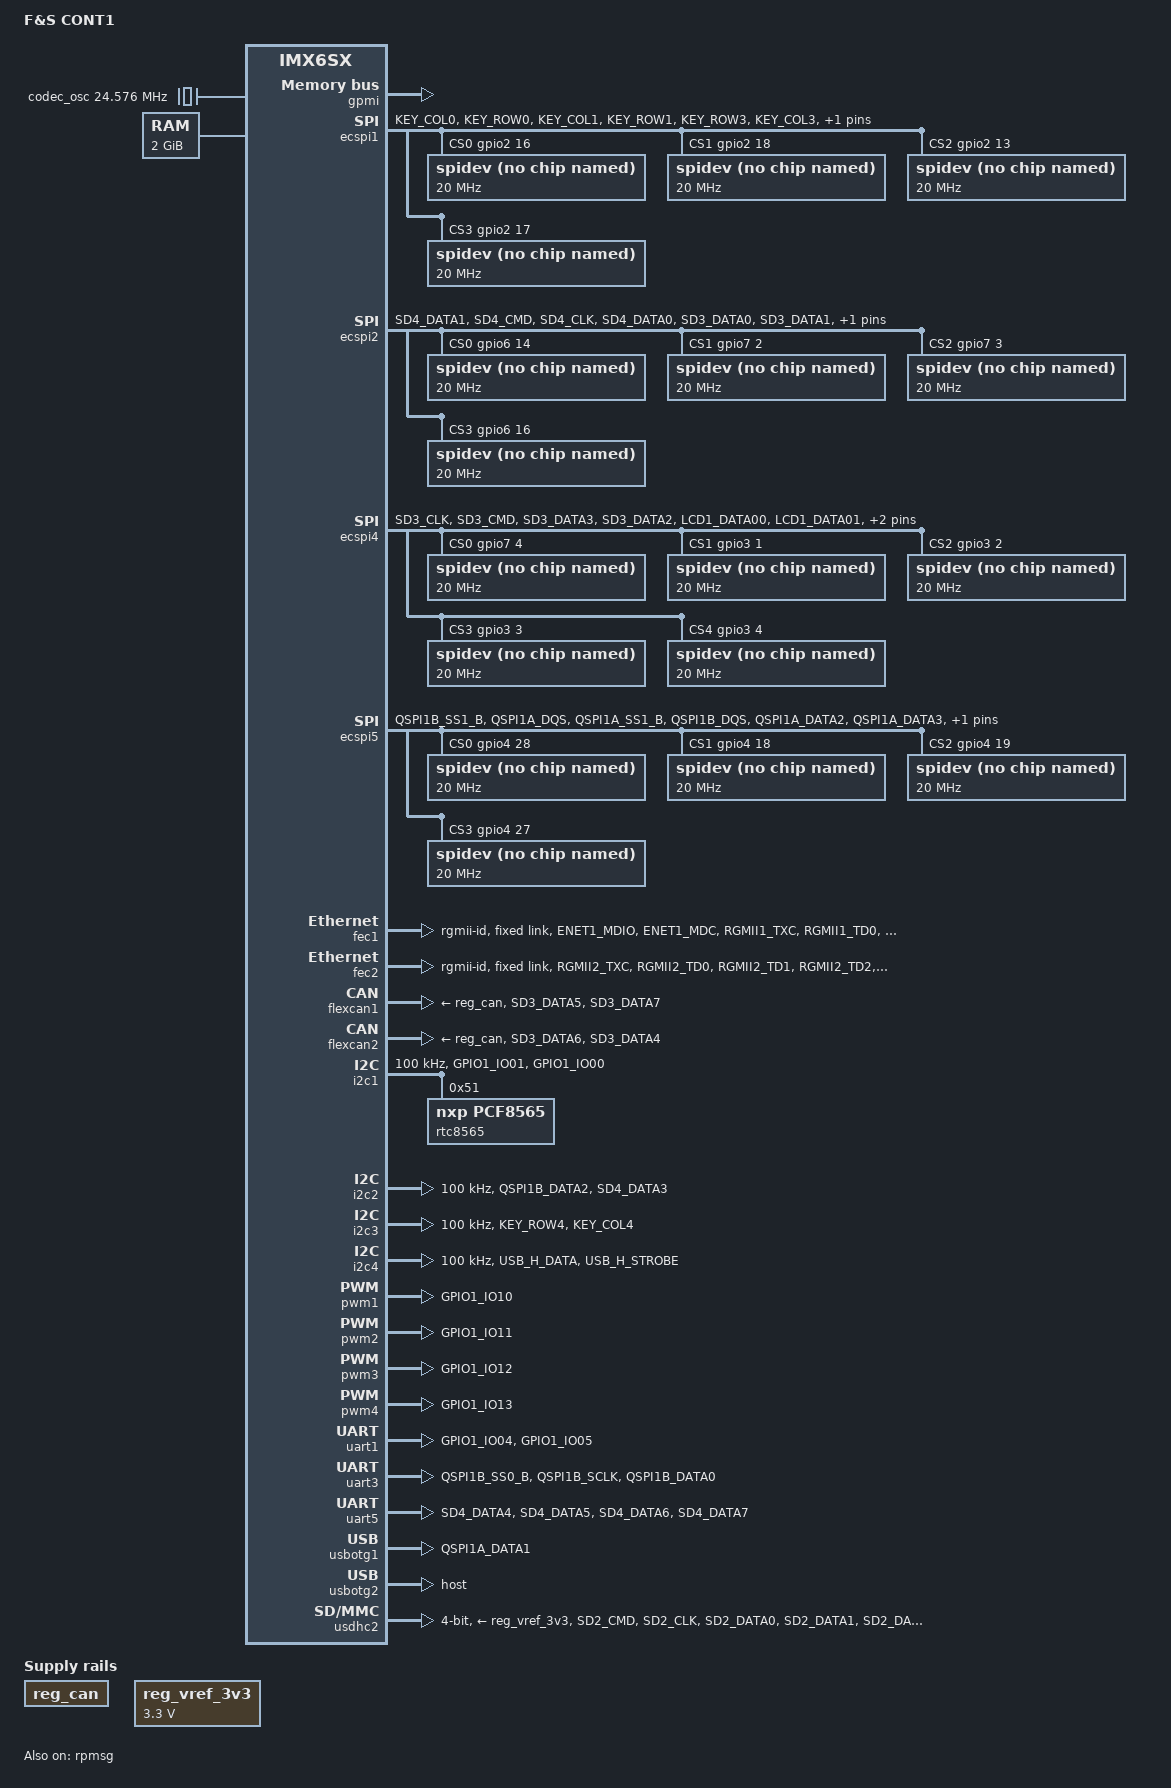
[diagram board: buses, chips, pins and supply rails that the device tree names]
/*
 * Copyright (C) 2017-2019 F&S Elektronik Systeme GmbH
 *
 * This program is free software; you can redistribute it and/or modify
 * it under the terms of the GNU General Public License version 2 as
 * published by the Free Software Foundation.
 */

/dts-v1/;

/* Set board revision as 3-digit number, e.g. 100 for board rev. 1.00 */
#define CONFIG_CONT1_BOARD_REVISION	120

/* CMA: Set 320 MB for Continuous Memory Allocator */
#define CONFIG_CONT1_CMA_SIZE 0x14000000

/* Network */
#define CONFIG_CONT1_ETH0
#define CONFIG_CONT1_ETH1

/* I2C */
#define CONFIG_CONT1_I2C_A
#define CONFIG_CONT1_I2C_B
#define CONFIG_CONT1_I2C_C
#define CONFIG_CONT1_I2C_D

/* SPI */
#define CONFIG_CONT1_SPI_A
#define CONFIG_CONT1_SPI_B
#define CONFIG_CONT1_SPI_C
#define CONFIG_CONT1_SPI_D

#include "imx6sx.dtsi"

/ {
	model = "F&S CONT1";
	compatible = "fus,imx6sx-CONT1", "fsl,imx6sx";

	clocks {
		codec_osc: anaclk2 {
			#clock-cells = <0>;
			compatible = "fixed-clock";
			clock-frequency = <24576000>;
		};
	};

	memory {
		reg = <0x80000000 0x80000000>;
	};

	pxp_v4l2_out {
		compatible = "fsl,imx6sx-pxp-v4l2", "fsl,imx6sl-pxp-v4l2";
		status = "okay";
	};

	regulators {
		compatible = "simple-bus";

		reg_can: regulator_can {
			compatible = "regulator-fixed";
			regulator-name = "can";
		};

		reg_vref_3v3: regulator@0 {
			compatible = "regulator-fixed";
			regulator-name = "vref-3v3";
			regulator-min-microvolt = <3300000>;
			regulator-max-microvolt = <3300000>;
			regulator-always-on;
		};

		/* USB_OTG1_PWR is always on, no regulator needed */
#if 0 //###
		reg_usb_otg1_vbus: usb_otg1_vbus {
			compatible = "regulator-fixed";
			regulator-name = "usb_otg1_vbus";
			regulator-min-microvolt = <5000000>;
			regulator-max-microvolt = <5000000>;
			regulator-always-on;
		};
#endif

		/* USB_OTG2_PWR is always on, no regulator needed */
#if 0 //###
		reg_usb_otg2_vbus: usb_otg2_vbus {
			compatible = "regulator-fixed";
			regulator-name = "usb_otg2_vbus";
			regulator-min-microvolt = <5000000>;
			regulator-max-microvolt = <5000000>;
			regulator-always-on;
		};
#endif //###
	};

	/* F&S board information */
	bdinfo {
		compatible = "bdinfo";
		board_name = "cont1";
		ecc_strength = "8";
	};

	/* F&S auxiliary core driver */
	auxiliary_core {
		compatible = "auxiliary-core";
		clocks = <&clks IMX6SX_CLK_M4>;
	};
};

/* RAM size for Continues Memory Allocator */
&cma {
	size = <CONFIG_CONT1_CMA_SIZE>;
};

&busfreq {
	/* Disable bus frequency scaling, because reducing bus frequency to
	   24 MHz does not work with all types of DDR3 RAM */
	disable-scaling;
};

&clks {
	/* Shared memory in OCRAM, keep clear from Linux */
	fsl,shared-mem-addr = <0x91F000>;
	fsl,shared-mem-size = <0x1000>;
	fsl,shared-clks-number = <0x23>;
	fsl,shared-clks-index = <IMX6SX_CLK_PLL2_BUS
				 IMX6SX_CLK_PLL2_PFD0
				 IMX6SX_CLK_PLL2_PFD2
				 IMX6SX_CLK_PLL3_USB_OTG
				 IMX6SX_CLK_PLL3_PFD1
				 IMX6SX_CLK_PLL3_PFD2
				 IMX6SX_CLK_PLL3_PFD3
				 IMX6SX_CLK_PLL4_AUDIO
				 IMX6SX_CLK_PLL5_VIDEO
				 IMX6SX_CLK_OCRAM
				 IMX6SX_CLK_CAN1_SERIAL
				 IMX6SX_CLK_CAN1_IPG
				 IMX6SX_CLK_CAN2_SERIAL
				 IMX6SX_CLK_CAN2_IPG
				 IMX6SX_CLK_CANFD
				 IMX6SX_CLK_ECSPI1
				 IMX6SX_CLK_ECSPI2
				 IMX6SX_CLK_ECSPI3
				 IMX6SX_CLK_ECSPI4
				 IMX6SX_CLK_ECSPI5
				 IMX6SX_CLK_QSPI1
				 IMX6SX_CLK_QSPI2
				 IMX6SX_CLK_SSI1
				 IMX6SX_CLK_SSI2
				 IMX6SX_CLK_SSI3
				 IMX6SX_CLK_UART_SERIAL
				 IMX6SX_CLK_UART_IPG
				 IMX6SX_CLK_PERIPH_CLK2_SEL
				 IMX6SX_CLK_DUMMY
				 IMX6SX_CLK_I2C1
				 IMX6SX_CLK_I2C2
				 IMX6SX_CLK_I2C3
				 IMX6SX_CLK_I2C4
				 IMX6SX_CLK_EPIT1
				 IMX6SX_CLK_EPIT2>;
};

/* epit1 and epit2 may be used by Cortex-M4 examples for timing purposes; they are
   not used in Linux anyway */
&epit1{
	status = "disabled";
};

&epit2{
	status = "disabled";
};

/* rpmsg is used for communication between Cortex-A9 and Cortex-M4 cores */
&rpmsg{
	/* The ring buffer addresses are automatically updated in current U-Boot */
	vring-buffer-address0 = <0xBFFF0000>;
	vring-buffer-address1 = <0xBFFF8000>;
	status = "okay";
};

/*
 * OCRAM usage (128KB):
 *   0x00900000 - 0x00900FFF: Cortex-A9/Linux: CPU idle + bus frequency code
 *   0x00901000 - 0x0090FFFF: Cortex-A9/Linux: DMA descriptors, GPU
 *   0x00910000 - 0x0091EFFF: Cortex-M4/FreeRTOS: Code/Data
 *   0x0091F000 - 0x0091FFFF: Cortex-A9+M4: Shared memory for shared clocks
 */
&ocram {
	reg = <0x00901000 0xf000>;
};

&dma_apbh {
	/* Switch to F&S implementation of APBH DMA driver for GPMI (NAND) */
	compatible = "fus,imx6sx-dma-apbh", "fus,imx28-dma-apbh";
	iram = <&ocram>;
};

&gpmi {
	/* Switch to F&S implementation of GPMI NAND driver */
	compatible = "fus,imx6sx-gpmi-nand";
	pinctrl-names = "default";
//###	pinctrl-0 = <&pinctrl_gpmi_nand_1>;
	fus,skipblocks = <2>;
	fus,chunk1k;
	fus,ecc_strength = <8>;		/* Spare area 64 bytes */
	status = "okay";
};

#ifdef CONFIG_CONT1_SPI_A
&ecspi1 {
	pinctrl-names = "default";
	pinctrl-0 = <&pinctrl_ecspi1>;
	fsl,spi-num-chipselects = <4>;
	cs-gpios = <&gpio2 16 0>, <&gpio2 18 0>, <&gpio2 13 0>, <&gpio2 17 0>;
	status = "okay";

	spidev@0 {
		#address-cells = <1>;
		#size-cells = <1>;
		compatible = "linux,spidev";
		spi-max-frequency = <20000000>;
		reg = <0>;
	};

	spidev@1 {
		#address-cells = <1>;
		#size-cells = <1>;
		compatible = "linux,spidev";
		spi-max-frequency = <20000000>;
		reg = <1>;
	};

	spidev@2 {
		#address-cells = <1>;
		#size-cells = <1>;
		compatible = "linux,spidev";
		spi-max-frequency = <20000000>;
		reg = <2>;
	};

	spidev@3 {
		#address-cells = <1>;
		#size-cells = <1>;
		compatible = "linux,spidev";
		spi-max-frequency = <20000000>;
		reg = <3>;
	};
};
#endif

#ifdef CONFIG_CONT1_SPI_B
&ecspi2 {
	pinctrl-names = "default";
	pinctrl-0 = <&pinctrl_ecspi2>;
	fsl,spi-num-chipselects = <4>;
	cs-gpios = <&gpio6 14 0>, <&gpio7 2 0>, <&gpio7 3 0>, <&gpio6 16 0>;
	status = "okay";

	spidev@0 {
		#address-cells = <1>;
		#size-cells = <1>;
		compatible = "linux,spidev";
		spi-max-frequency = <20000000>;
		reg = <0>;
	};

	spidev@1 {
		#address-cells = <1>;
		#size-cells = <1>;
		compatible = "linux,spidev";
		spi-max-frequency = <20000000>;
		reg = <1>;
	};

	spidev@2 {
		#address-cells = <1>;
		#size-cells = <1>;
		compatible = "linux,spidev";
		spi-max-frequency = <20000000>;
		reg = <2>;
	};

	spidev@3 {
		#address-cells = <1>;
		#size-cells = <1>;
		compatible = "linux,spidev";
		spi-max-frequency = <20000000>;
		reg = <3>;
	};
};
#endif

#ifdef CONFIG_CONT1_SPI_C
&ecspi4 {
	/* SPI_A: 5x CS */
	fsl,spi-num-chipselects = <5>;
	cs-gpios = <&gpio7 4 0>, <&gpio3 1 0>, <&gpio3 2 0>,
		   <&gpio3 3 0>, <&gpio3 4 0>;
	pinctrl-names = "default";
	pinctrl-0 = <&pinctrl_ecspi4>;
	status = "okay";

	spidev@0 {
		#address-cells = <1>;
		#size-cells = <1>;
		compatible = "linux,spidev";
		spi-max-frequency = <20000000>;
		reg = <0>;
	};

	spidev@1 {
		#address-cells = <1>;
		#size-cells = <1>;
		compatible = "linux,spidev";
		spi-max-frequency = <20000000>;
		reg = <1>;
	};

	spidev@2 {
		#address-cells = <1>;
		#size-cells = <1>;
		compatible = "linux,spidev";
		spi-max-frequency = <20000000>;
		reg = <2>;
	};

	spidev@3 {
		#address-cells = <1>;
		#size-cells = <1>;
		compatible = "linux,spidev";
		spi-max-frequency = <20000000>;
		reg = <3>;
	};

	spidev@4 {
		#address-cells = <1>;
		#size-cells = <1>;
		compatible = "linux,spidev";
		spi-max-frequency = <20000000>;
		reg = <4>;
	};
};
#endif

#ifdef CONFIG_CONT1_SPI_D
&ecspi5 {
	pinctrl-names = "default";
	pinctrl-0 = <&pinctrl_ecspi5>;
	/* SPI_A: 4x CS */
	fsl,spi-num-chipselects = <4>;
	cs-gpios = <&gpio4 28 0>, <&gpio4 18 0>, <&gpio4 19 0>, <&gpio4 27 0>;
	status = "okay";

	spidev@0 {
		#address-cells = <1>;
		#size-cells = <1>;
		compatible = "linux,spidev";
		spi-max-frequency = <20000000>;
		reg = <0>;
	};

	spidev@1 {
		#address-cells = <1>;
		#size-cells = <1>;
		compatible = "linux,spidev";
		spi-max-frequency = <20000000>;
		reg = <1>;
	};

	spidev@2 {
		#address-cells = <1>;
		#size-cells = <1>;
		compatible = "linux,spidev";
		spi-max-frequency = <20000000>;
		reg = <2>;
	};

	spidev@3 {
		#address-cells = <1>;
		#size-cells = <1>;
		compatible = "linux,spidev";
		spi-max-frequency = <20000000>;
		reg = <3>;
	};
};
#endif

#ifdef CONFIG_CONT1_ETH0
&fec1 {
	pinctrl-names = "default";
	pinctrl-0 = <&pinctrl_enet1_1>;
	phy-mode = "rgmii-id";
	fsl,magic-packet;
	status = "okay";

	/* FEC1 is directly connected to ethernet switch SJA1105 port 3 */
	fixed-link {
		speed = <1000>;
		full-duplex;
	};

#if 0
	/* ### TODO ### */
	/* There are three external PHYs on MDIO bus of FEC1. Ports 0 and 1
	   are available as RJ45 connectors and port 2 is on the B2B connector.
	   However these PHYs have nothing to do with the connection of FEC1
	   and FEC2 to the switch, so they can not simply be added here. They
	   need a separate driver to handle link changes, for example to update
	   the speed of the switch port. As long as the ports can use a fixed
	   speed, the U-Boot configuration is sufficient and no further action
	   is required in Linux. */
	mdio {
		#address-cells = <1>;
		#size-cells = <0>;

		ethphy0: ethernet-phy@4 {
			compatible = "ethernet-phy-ieee802.3-c22";
			reg = <4>;
		};
		ethphy1: ethernet-phy@5 {
			compatible = "ethernet-phy-ieee802.3-c22";
			reg = <5>;
		};
		ethphy2: ethernet-phy@6 {
			compatible = "ethernet-phy-ieee802.3-c22";
			reg = <6>;
		};
	};
#endif
};
#endif /* CONFIG_CONT1_ETH0 */

#ifdef CONFIG_CONT1_ETH1
&fec2 {
	pinctrl-names = "default";
	pinctrl-0 = <&pinctrl_enet2_1>;
	phy-mode = "rgmii-id";
	fsl,magic-packet;
	status = "okay";

	/* FEC2 is directly connected to ethernet switch SJA1105 port 4 */
	fixed-link {
		speed = <1000>;
		full-duplex;
	};
};
#endif /* CONFIG_CONT1_ETH1 */

&flexcan1 {
	pinctrl-names = "default";
	pinctrl-0 = <&pinctrl_flexcan1_1>;
	xceiver-supply = <&reg_can>;
//###	trx-en-gpio = <&max7310_b 5 GPIO_ACTIVE_HIGH>;
//###	trx-stby-gpio = <&max7310_b 4 GPIO_ACTIVE_HIGH>;
//###	trx-wakeup-gpio = <&max7310_b 7 GPIO_ACTIVE_HIGH>;
	status = "okay";
};

&flexcan2 {
	pinctrl-names = "default";
	pinctrl-0 = <&pinctrl_flexcan2_1>;
	xceiver-supply = <&reg_can>;
//###	trx-en-gpio = <&max7310_b 5 GPIO_ACTIVE_HIGH>;
//###	trx-stby-gpio = <&max7310_b 4 GPIO_ACTIVE_HIGH>;
//###	trx-wakeup-gpio = <&max7310_b 7 GPIO_ACTIVE_HIGH>;
	status = "okay";
};

/* This board uses CPU variant MCIMX6X2EVN10 which does not have a GPU */
&gpu {
	status = "disabled";
};

#ifdef CONFIG_CONT1_I2C_C
/* I2C_C RTC, B2B Connector */
&i2c1 {
	clock-frequency = <100000>;
	pinctrl-names = "default";
	pinctrl-0 = <&pinctrl_i2c1_1>;
	status = "okay";

	rtc8565@51 {
		compatible = "nxp,pcf8565", "nxp,pcf8563";
		reg = <0x51>;
	};
};
#endif

#ifdef CONFIG_CONT1_I2C_A
/* I2C_A B2B Connector */
&i2c2 {
	clock-frequency = <100000>;
	pinctrl-names = "default";
	pinctrl-0 = <&pinctrl_i2c2_1>;
	status = "okay";
};
#endif

#ifdef CONFIG_CONT1_I2C_B
/* I2C_B: B2B Connector */
&i2c3 {
	clock-frequency = <100000>;
	pinctrl-names = "default";
	pinctrl-0 = <&pinctrl_i2c3_1>;
	status = "okay";
};
#endif

#ifdef CONFIG_CONT1_I2C_D
/* I2C_D: B2B Connector */
&i2c4 {
	clock-frequency = <100000>;
	pinctrl-names = "default";
	pinctrl-0 = <&pinctrl_i2c4_1>;
	status = "okay";
};
#endif

&pwm1 {
	pinctrl-names = "default";
	pinctrl-0 = <&pinctrl_pwm1>;
	status = "okay";
};

&pwm2 {
	pinctrl-names = "default";
	pinctrl-0 = <&pinctrl_pwm2>;
	status = "okay";
};

&pwm3 {
	pinctrl-names = "default";
	pinctrl-0 = <&pinctrl_pwm3>;
	status = "okay";
};

&pwm4 {
	pinctrl-names = "default";
	pinctrl-0 = <&pinctrl_pwm4>;
	status = "okay";
};

/* UART_A: TXD, RXD only, RS232-level */
&uart1 {
	pinctrl-names = "default";
	pinctrl-0 = <&pinctrl_uart1_1>;
	status = "okay";
};

/* UART_B: TXD, RXD, RTS, RS485-level */
&uart3 {
	pinctrl-names = "default";
	pinctrl-0 = <&pinctrl_uart3_1>;
	uart-has-rtscts;
	status = "okay";
};

/* UART_C: TXD, RXD, RTS, CTS, TTL-level on B2B connector */
&uart5 {
	pinctrl-names = "default";
	pinctrl-0 = <&pinctrl_uart5_1>;
	uart-has-rtscts;
	status = "okay";
};

&usbotg1 {
	pinctrl-names = "default";
	pinctrl-0 = <&pinctrl_usbotg1>;
//###	vbus-supply = <&reg_usb_otg1_vbus>;
	disable-over-current;
	status = "okay";
};

&usbotg2 {
//###	vbus-supply = <&reg_usb_otg2_vbus>;
	dr_mode = "host";
	disable-over-current;
	status = "okay";
};

&usdhc2 {
	/* Micro-SD slot on CONT1 */
	pinctrl-names = "default";
	pinctrl-0 = <&pinctrl_usdhc2_1>;
	cd-gpios = <&gpio1 6 GPIO_ACTIVE_LOW>;
	//wp-gpios = <&gpio1 7 GPIO_ACTIVE_HIGH>; /* not connected */
	bus-width = <4>;
	vmmc-supply = <&reg_vref_3v3>;	/* VDD */
	vqmmc-supply = <&reg_vref_3v3>;	/* VDD_IO */
	voltage-ranges = <3300 3300>;
	no-1-8-v;
	keep-power-in-suspend;
	status = "okay";
};

&iomuxc {
	pinctrl-names = "default";
	pinctrl-0 = <&pinctrl_hog>;

	CONT1 {
		pinctrl_hog: hoggrp {
			fsl,pins = <
				/* I2C1_RST */
				MX6SX_PAD_GPIO1_IO02__GPIO1_IO_2	0x0b0b0
				/* I2C1_IRQ */
				MX6SX_PAD_GPIO1_IO03__GPIO1_IO_3	0x0b0b0
				/* I2C2_RST */
				MX6SX_PAD_SD4_RESET_B__GPIO6_IO_22	0x0b0b0
				/* I2C2_IRQ */
				MX6SX_PAD_QSPI1A_DATA0__GPIO4_IO_16	0x0b0b0
				/* I2c3_RST */
				MX6SX_PAD_QSPI1A_SS0_B__GPIO4_IO_22	0x0b0b0
				/* I2c3_IRQ */
				MX6SX_PAD_QSPI1A_SCLK__GPIO4_IO_21	0x0b0b0
				/* I2C4_RST */
				MX6SX_PAD_LCD1_DATA04__GPIO3_IO_5	0x0b0b0
				/* I2C4_IRQ */
				MX6SX_PAD_LCD1_DATA05__GPIO3_IO_6	0x0b0b0
				/* GPIOs 0 - 3 */
				MX6SX_PAD_LCD1_DATA06__GPIO3_IO_7	0x030b0
				MX6SX_PAD_LCD1_DATA07__GPIO3_IO_8	0x030b0
				MX6SX_PAD_LCD1_DATA08__GPIO3_IO_9	0x030b0
				MX6SX_PAD_LCD1_DATA09__GPIO3_IO_10	0x030b0
				/* SJA1105 */
				/* SJA1105 RST */
				MX6SX_PAD_LCD1_ENABLE__GPIO3_IO_25	0x0b0b0
				/* PHY_RST1 */
				MX6SX_PAD_LCD1_DATA10__GPIO3_IO_11	0x0b0b0
				/* PHY_INT1 */
				MX6SX_PAD_LCD1_DATA11__GPIO3_IO_12	0x0b0b0
				/* PHY_RST2 */
				MX6SX_PAD_LCD1_DATA12__GPIO3_IO_13	0x0b0b0
				/* PHY_INT2 */
				MX6SX_PAD_LCD1_DATA13__GPIO3_IO_14	0x0b0b0
				/* PHY_RST3 */
				MX6SX_PAD_LCD1_DATA14__GPIO3_IO_15	0x0b0b0
				/* PHY_INT3 */
				MX6SX_PAD_LCD1_DATA15__GPIO3_IO_16	0x0b0b0
			>;
		};

#ifdef CONFIG_CONT1_SPI_A
		pinctrl_ecspi1: ecspi1grp_1 {
			fsl,pins = <
				MX6SX_PAD_KEY_COL0__ECSPI1_SCLK		0x100b1
				MX6SX_PAD_KEY_ROW0__ECSPI1_MOSI		0x100b1
				MX6SX_PAD_KEY_COL1__ECSPI1_MISO		0x100b1
				/* CS0 - CS3 */
				MX6SX_PAD_KEY_ROW1__GPIO2_IO_16		0x1b0b0
				MX6SX_PAD_KEY_ROW3__GPIO2_IO_18		0x1b0b0
				MX6SX_PAD_KEY_COL3__GPIO2_IO_13		0x1b0b0
				MX6SX_PAD_KEY_ROW2__GPIO2_IO_17		0x1b0b0
			>;
		};
#endif

#ifdef CONFIG_CONT1_SPI_B
		pinctrl_ecspi2: ecspi2grp_1 {
			fsl,pins = <
				MX6SX_PAD_SD4_DATA1__ECSPI2_SCLK	0x100b1
				MX6SX_PAD_SD4_CMD__ECSPI2_MOSI		0x100b1
				MX6SX_PAD_SD4_CLK__ECSPI2_MISO		0x100b1
				/* CS0 - CS3 */
				MX6SX_PAD_SD4_DATA0__GPIO6_IO_14	0x1b0b0
				MX6SX_PAD_SD3_DATA0__GPIO7_IO_2		0x1b0b0
				MX6SX_PAD_SD3_DATA1__GPIO7_IO_3		0x1b0b0
				MX6SX_PAD_SD4_DATA2__GPIO6_IO_16	0x1b0b0
			>;
		};
#endif

#ifdef CONFIG_CONT1_SPI_C
		pinctrl_ecspi4: ecspi4grp_1 {
			fsl,pins = <
				MX6SX_PAD_SD3_CLK__ECSPI4_SCLK		0x100b1
				MX6SX_PAD_SD3_CMD__ECSPI4_MOSI		0x100b1
				MX6SX_PAD_SD3_DATA3__ECSPI4_MISO	0x100b1
				/* CS0 - CS4 */
				MX6SX_PAD_SD3_DATA2__GPIO7_IO_4		0x1b0b0
				MX6SX_PAD_LCD1_DATA00__GPIO3_IO_1	0x1b0b0
				MX6SX_PAD_LCD1_DATA01__GPIO3_IO_2	0x1b0b0
				MX6SX_PAD_LCD1_DATA02__GPIO3_IO_3	0x1b0b0
				MX6SX_PAD_LCD1_DATA03__GPIO3_IO_4	0x1b0b1
			>;
		};
#endif

#ifdef CONFIG_CONT1_SPI_D
		pinctrl_ecspi5: ecspi5grp_1 {
			fsl,pins = <
				MX6SX_PAD_QSPI1B_SS1_B__ECSPI5_SCLK	0x100b1
				MX6SX_PAD_QSPI1A_DQS__ECSPI5_MOSI	0x100b1
				MX6SX_PAD_QSPI1A_SS1_B__ECSPI5_MISO	0x100b1
				/* CS0 - CS3 */
				MX6SX_PAD_QSPI1B_DQS__GPIO4_IO_28	0x1b0b0
				MX6SX_PAD_QSPI1A_DATA2__GPIO4_IO_18	0x1b0b0
				MX6SX_PAD_QSPI1A_DATA3__GPIO4_IO_19	0x1b0b0
				MX6SX_PAD_QSPI1B_DATA3__GPIO4_IO_27	0x1b0b0
			>;
		};
#endif

#ifdef CONFIG_CONT1_ETH0
		pinctrl_enet1_1: enet1grp-1 {
			fsl,pins = <
				/* MDIO */
				MX6SX_PAD_ENET1_MDIO__ENET1_MDIO	0x0a0b1
				MX6SX_PAD_ENET1_MDC__ENET1_MDC		0x0a0b1

				/* FEC1 */
				MX6SX_PAD_RGMII1_TXC__ENET1_RGMII_TXC	0x0a0b9
				MX6SX_PAD_RGMII1_TD0__ENET1_TX_DATA_0	0x0a0b1
				MX6SX_PAD_RGMII1_TD1__ENET1_TX_DATA_1	0x0a0b1
				MX6SX_PAD_RGMII1_TD2__ENET1_TX_DATA_2	0x0a0b1
				MX6SX_PAD_RGMII1_TD3__ENET1_TX_DATA_3	0x0a0b1
				MX6SX_PAD_RGMII1_TX_CTL__ENET1_TX_EN	0x0a0b1
				MX6SX_PAD_RGMII1_RXC__ENET1_RX_CLK	0x03081
				MX6SX_PAD_RGMII1_RD0__ENET1_RX_DATA_0	0x03081
				MX6SX_PAD_RGMII1_RD1__ENET1_RX_DATA_1	0x03081
				MX6SX_PAD_RGMII1_RD2__ENET1_RX_DATA_2	0x03081
				MX6SX_PAD_RGMII1_RD3__ENET1_RX_DATA_3	0x03081
				MX6SX_PAD_RGMII1_RX_CTL__ENET1_RX_EN	0x03081
			>;
		};
#endif

#ifdef CONFIG_CONT1_ETH1
		pinctrl_enet2_1: enet2grp-1 {
			fsl,pins = <
				/* FEC2 uses MDIO bus from FEC1 */
				MX6SX_PAD_RGMII2_TXC__ENET2_RGMII_TXC	0x0a0b9
				MX6SX_PAD_RGMII2_TD0__ENET2_TX_DATA_0	0x0a0b1
				MX6SX_PAD_RGMII2_TD1__ENET2_TX_DATA_1	0x0a0b1
				MX6SX_PAD_RGMII2_TD2__ENET2_TX_DATA_2	0x0a0b1
				MX6SX_PAD_RGMII2_TD3__ENET2_TX_DATA_3	0x0a0b1
				MX6SX_PAD_RGMII2_TX_CTL__ENET2_TX_EN	0x0a0b1
				MX6SX_PAD_RGMII2_RXC__ENET2_RX_CLK	0x03081
				MX6SX_PAD_RGMII2_RD0__ENET2_RX_DATA_0	0x03081
				MX6SX_PAD_RGMII2_RD1__ENET2_RX_DATA_1	0x03081
				MX6SX_PAD_RGMII2_RD2__ENET2_RX_DATA_2	0x03081
				MX6SX_PAD_RGMII2_RD3__ENET2_RX_DATA_3	0x03081
				MX6SX_PAD_RGMII2_RX_CTL__ENET2_RX_EN	0x03081
			>;
		};
#endif

		pinctrl_flexcan1_1: flexcan1grp-1 {
			fsl,pins = <
				MX6SX_PAD_SD3_DATA5__CAN1_TX		0x1b020
				MX6SX_PAD_SD3_DATA7__CAN1_RX		0x1b020
			>;
		};

		pinctrl_flexcan2_1: flexcan2grp-1 {
			fsl,pins = <
				MX6SX_PAD_SD3_DATA6__CAN2_TX		0x1b020
				MX6SX_PAD_SD3_DATA4__CAN2_RX		0x1b020
			>;
		};

#if 0
		pinctrl_gpmi_nand_1: gpmi-nand-1 {
			/* Already configured in NBoot/U-Boot */
			fsl,pins = <
				MX6SX_PAD_NAND_CLE__RAWNAND_CLE		0x0b0b1
				MX6SX_PAD_NAND_ALE__RAWNAND_ALE		0x0b0b1
				MX6SX_PAD_NAND_WP_B__RAWNAND_WP_B	0x0b0b1
				MX6SX_PAD_NAND_READY_B__RAWNAND_READY_B	0x0b000
				MX6SX_PAD_NAND_CE0_B__RAWNAND_CE0_B	0x0b0b1
				//MX6SX_PAD_NAND_CE1_B__RAWNAND_CE1_B	0x0b0b1
				MX6SX_PAD_NAND_RE_B__RAWNAND_RE_B	0x0b0b1
				MX6SX_PAD_NAND_WE_B__RAWNAND_WE_B	0x0b0b1
				MX6SX_PAD_NAND_DATA00__RAWNAND_DATA00	0x0b0b1
				MX6SX_PAD_NAND_DATA01__RAWNAND_DATA01	0x0b0b1
				MX6SX_PAD_NAND_DATA02__RAWNAND_DATA02	0x0b0b1
				MX6SX_PAD_NAND_DATA03__RAWNAND_DATA03	0x0b0b1
				MX6SX_PAD_NAND_DATA04__RAWNAND_DATA04	0x0b0b1
				MX6SX_PAD_NAND_DATA05__RAWNAND_DATA05	0x0b0b1
				MX6SX_PAD_NAND_DATA06__RAWNAND_DATA06	0x0b0b1
				MX6SX_PAD_NAND_DATA07__RAWNAND_DATA07	0x0b0b1
			>;
		};
#endif

#ifdef CONFIG_CONT1_I2C_C
		/* I2C_C: RTC (PCA8565), B2B connector */
		pinctrl_i2c1_1: i2c1grp-1 {
			fsl,pins = <
				MX6SX_PAD_GPIO1_IO01__I2C1_SDA		0x4001b8b1
				MX6SX_PAD_GPIO1_IO00__I2C1_SCL		0x4001b8b1
			>;
		};
#endif

#ifdef CONFIG_CONT1_I2C_A
		/* I2C_A: B2B connector */
		pinctrl_i2c2_1: i2c2grp-1 {
			fsl,pins = <
				MX6SX_PAD_QSPI1B_DATA2__I2C2_SDA	0x4001b8b1
				MX6SX_PAD_SD4_DATA3__I2C2_SCL		0x4001b8b1
			>;
		};
#endif

#ifdef CONFIG_CONT1_I2C_B
		/* I2C_B: B2B Connector */
		pinctrl_i2c3_1: i2c3grp-1 {
			fsl,pins = <
				MX6SX_PAD_KEY_ROW4__I2C3_SDA		0x4001b8b1
				MX6SX_PAD_KEY_COL4__I2C3_SCL		0x4001b8b1
			>;
		};
#endif

#ifdef CONFIG_CONT1_I2C_D
		/* I2C_D: B2B Connector */
		pinctrl_i2c4_1: i2c4grp-1 {
			fsl,pins = <
				MX6SX_PAD_USB_H_DATA__I2C4_SDA		0x4001b8b1
				MX6SX_PAD_USB_H_STROBE__I2C4_SCL	0x4001b8b1
			>;
		};
#endif

		pinctrl_pwm1: pwm1grp-0 {
			fsl,pins = <
				MX6SX_PAD_GPIO1_IO10__PWM1_OUT		0x110b0
			>;
		};

		pinctrl_pwm2: pwm2grp-0 {
			fsl,pins = <
				MX6SX_PAD_GPIO1_IO11__PWM2_OUT		0x110b0
			>;
		};

		pinctrl_pwm3: pwm3grp-0 {
			fsl,pins = <
				MX6SX_PAD_GPIO1_IO12__PWM3_OUT		0x110b0
			>;
		};

		pinctrl_pwm4: pwm4grp-0 {
			fsl,pins = <
				MX6SX_PAD_GPIO1_IO13__PWM4_OUT		0x110b0
			>;
		};

		pinctrl_uart1_1: uart1grp-1 {
			fsl,pins = <
				MX6SX_PAD_GPIO1_IO04__UART1_TX		0x1b0b1
				MX6SX_PAD_GPIO1_IO05__UART1_RX		0x1b0b1
			>;
		};

		pinctrl_uart3_1: uart3grp-1 {
			fsl,pins = <
				MX6SX_PAD_QSPI1B_SS0_B__UART3_TX	0x1b0b1
				MX6SX_PAD_QSPI1B_SCLK__UART3_RX		0x1b0b1
				MX6SX_PAD_QSPI1B_DATA0__UART3_CTS_B	0x1b0b1
			>;
		};

		pinctrl_uart5_1: uart5grp-1 {
			fsl,pins = <
				MX6SX_PAD_SD4_DATA4__UART5_RX		0x1b0b1
				MX6SX_PAD_SD4_DATA5__UART5_TX		0x1b0b1
				MX6SX_PAD_SD4_DATA6__UART5_RTS_B	0x1b0b1
				MX6SX_PAD_SD4_DATA7__UART5_CTS_B	0x1b0b1
			>;
		};

		pinctrl_usbotg1: usbotg1grp {
			fsl,pins = <
				/* USB_OTG1_ID: low: host, open: device */
				MX6SX_PAD_QSPI1A_DATA1__ANATOP_OTG1_ID	0x1b000
			>;
		};

		/* Micro-SD slot on CONT1 */
		pinctrl_usdhc2_1: usdhc2grp-1 {
			fsl,pins = <
				MX6SX_PAD_SD2_CMD__USDHC2_CMD		0x17071
				MX6SX_PAD_SD2_CLK__USDHC2_CLK		0x10071
				MX6SX_PAD_SD2_DATA0__USDHC2_DATA0	0x17071
				MX6SX_PAD_SD2_DATA1__USDHC2_DATA1	0x17071
				MX6SX_PAD_SD2_DATA2__USDHC2_DATA2	0x17071
				MX6SX_PAD_SD2_DATA3__USDHC2_DATA3	0x17071
				/* Card Detect (CD), active low (pull-up) */
				MX6SX_PAD_GPIO1_IO06__GPIO1_IO_6	0x17000
				/*
				 * Write Protect (WP), active high (pull-up)
				 * lock:   WP switch open, pulled high
				 * unlock: WP switch closed, connects to GND
				 */
				MX6SX_PAD_GPIO1_IO07__GPIO1_IO_7	0x17000
			>;
		};
	};
};
